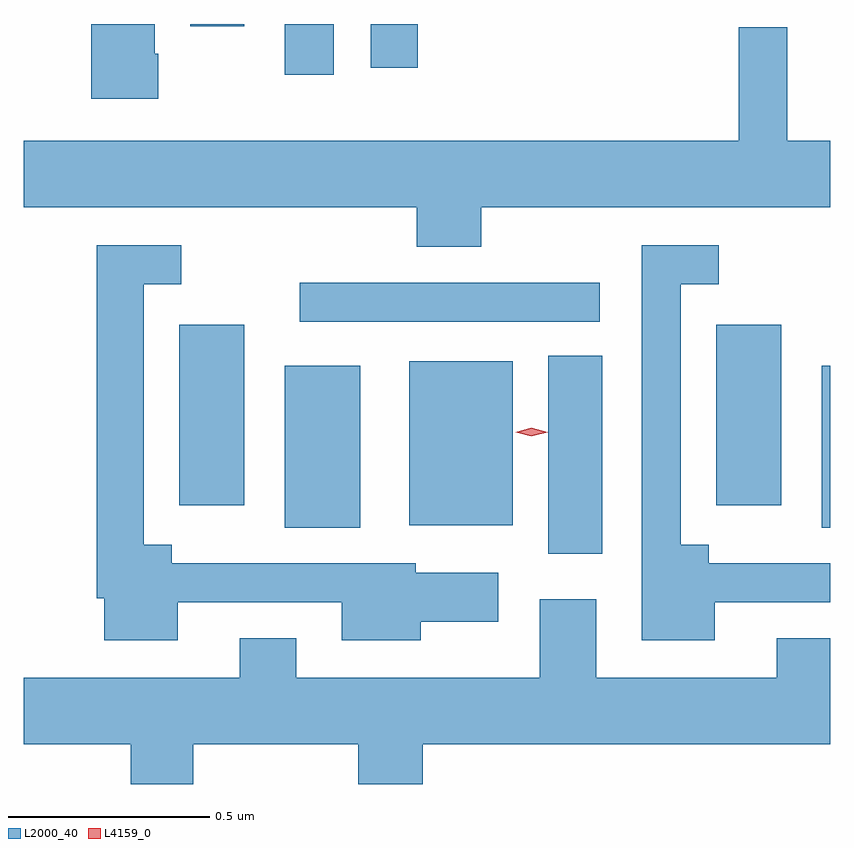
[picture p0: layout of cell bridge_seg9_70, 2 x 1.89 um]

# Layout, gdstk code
import gdstk
lib = gdstk.Library(unit=1e-6, precision=1e-09)
def R(c, l, rs):  # rectangles x0, y0, x1, y1
    for r in rs: c.add(gdstk.rectangle(r[:2], r[2:], *l))
def P(c, l, *ps):  # polygons
    for p in ps: c.add(gdstk.Polygon(p, *l))
L2000_40 = (2000, 40)
L4159_0 = (4159, 0)

bridge_seg9_70 = lib.new_cell('bridge_seg9_70')
R(bridge_seg9_70, L2000_40, [(1038.032,1210.212,1038.166,1210.703), (1037.378,1210.277,1037.566,1210.678), (1038.71,1210.277,1038.731,1210.678), (1037.687,1210.283,1037.944,1210.69), (1037.117,1210.332,1037.278,1210.78), (1038.449,1210.332,1038.61,1210.78), (1037.415,1210.788,1038.16,1210.884), (1037.378,1211.4,1037.5,1211.526), (1037.592,1211.418,1037.708,1211.526), (1037.144,1211.52,1037.278,1211.526)])
P(bridge_seg9_70, L2000_40, [(1037.064,1211.452),(1037.056,1211.452),(1037.056,1211.526),(1036.898,1211.526),(1036.898,1211.34),(1037.064,1211.34)],
  [(1037.865,1211.072),(1038.731,1211.072),(1038.731,1211.236),(1038.625,1211.236),(1038.625,1211.518),(1038.504,1211.518),(1038.504,1211.236),(1036.731,1211.236),(1036.731,1211.072),(1037.705,1211.072),(1037.705,1210.973),(1037.865,1210.973)],
  [(1037.113,1210.092),(1037.519,1210.092),(1037.519,1209.998),(1037.715,1209.998),(1037.715,1210.043),(1037.908,1210.043),(1037.908,1210.165),(1037.703,1210.165),(1037.703,1210.188),(1037.098,1210.188),(1037.098,1210.234),(1037.028,1210.234),(1037.028,1210.881),(1037.122,1210.881),(1037.122,1210.977),(1036.912,1210.977),(1036.912,1210.102),(1036.931,1210.102),(1036.931,1209.998),(1037.113,1209.998)],
  [(1038.445,1210.092),(1038.731,1210.092),(1038.731,1210.188),(1038.43,1210.188),(1038.43,1210.234),(1038.36,1210.234),(1038.36,1210.881),(1038.454,1210.881),(1038.454,1210.977),(1038.264,1210.977),(1038.264,1209.998),(1038.445,1209.998)],
  [(1037.151,1209.74),(1037.56,1209.74),(1037.56,1209.641),(1037.72,1209.641),(1037.72,1209.74),(1038.731,1209.74),(1038.731,1210.003),(1038.599,1210.003),(1038.599,1209.904),(1038.151,1209.904),(1038.151,1210.099),(1038.011,1210.099),(1038.011,1209.904),(1037.407,1209.904),(1037.407,1210.003),(1037.267,1210.003),(1037.267,1209.904),(1036.731,1209.904),(1036.731,1209.74),(1036.996,1209.74),(1036.996,1209.641),(1037.151,1209.641)])
P(bridge_seg9_70, L4159_0, [(1037.99,1210.504),(1037.951,1210.513),(1037.951,1210.514),(1037.951,1210.514),(1037.99,1210.524),(1038.03,1210.514),(1038.03,1210.514),(1038.03,1210.514)])

lib.write_gds('bridge_seg9_70.gds')
